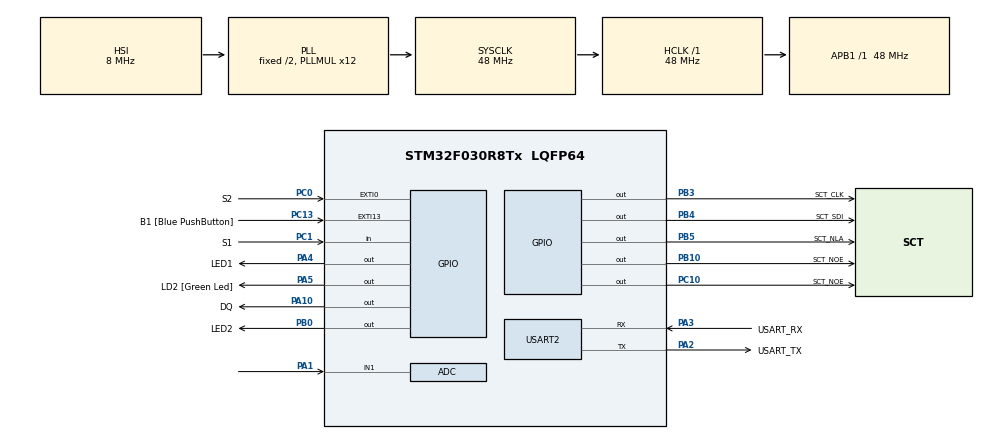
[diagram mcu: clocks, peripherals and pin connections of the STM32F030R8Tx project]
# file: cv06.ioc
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ADC.ContinuousConvMode=ENABLE
ADC.Resolution=ADC_RESOLUTION_10B
Mcu.Family=STM32F0
Mcu.Name=STM32F030R8Tx
Mcu.Package=LQFP64
PA1.Mode=IN1
PA1.Signal=ADC_IN1
PA10.GPIO_Label=DQ
PA10.GPIO_ModeDefaultOutputPP=GPIO_MODE_OUTPUT_OD
PA10.GPIO_PuPd=GPIO_NOPULL
PA10.PinState=GPIO_PIN_SET
PA10.Signal=GPIO_Output
PA13.GPIO_Label=TMS
PA13.Mode=Serial_Wire
PA13.Signal=SYS_SWDIO
PA14.GPIO_Label=TCK
PA14.Mode=Serial_Wire
PA14.Signal=SYS_SWCLK
PA2.GPIO_Label=USART_TX
PA2.GPIO_Mode=GPIO_MODE_AF_PP
PA2.GPIO_PuPd=GPIO_NOPULL
PA2.GPIO_Speed=GPIO_SPEED_FREQ_LOW
PA2.Mode=Asynchronous
PA2.Signal=USART2_TX
PA3.GPIO_Label=USART_RX
PA3.GPIO_Mode=GPIO_MODE_AF_PP
PA3.GPIO_PuPd=GPIO_NOPULL
PA3.GPIO_Speed=GPIO_SPEED_FREQ_LOW
PA3.Mode=Asynchronous
PA3.Signal=USART2_RX
PA4.GPIO_Label=LED1
PA4.Signal=GPIO_Output
PA5.GPIO_Label=LD2 [Green Led]
PA5.GPIO_Mode=GPIO_MODE_OUTPUT_PP
PA5.GPIO_PuPd=GPIO_NOPULL
PA5.GPIO_Speed=GPIO_SPEED_FREQ_LOW
PA5.Signal=GPIO_Output
PB0.GPIO_Label=LED2
PB0.Signal=GPIO_Output
PB10.GPIO_Label=SCT_NOE
PB10.Signal=GPIO_Output
PB3.GPIO_Label=SCT_CLK
PB3.Signal=GPIO_Output
PB4.GPIO_Label=SCT_SDI
PB4.Signal=GPIO_Output
PB5.GPIO_Label=SCT_NLA
PB5.Signal=GPIO_Output
PC0.GPIO_Label=S2
PC0.GPIO_PuPd=GPIO_PULLUP
PC0.Signal=GPXTI0
PC1.GPIO_Label=S1
PC1.GPIO_PuPd=GPIO_PULLUP
PC1.Signal=GPIO_Input
PC10.GPIO_Label=SCT_NOE
PC10.Signal=GPIO_Output
PC13.GPIO_Label=B1 [Blue PushButton]
PC13.GPIO_ModeDefaultEXTI=GPIO_MODE_IT_FALLING
PC13.Signal=GPXTI13
PC14-OSC32_IN.Mode=LSE-External-Oscillator
PC14-OSC32_IN.Signal=RCC_OSC32_IN
PC15-OSC32_OUT.Mode=LSE-External-Oscillator
PC15-OSC32_OUT.Signal=RCC_OSC32_OUT
PF0-OSC_IN.Mode=HSE-External-Clock-Source
PF0-OSC_IN.Signal=RCC_OSC_IN
PF1-OSC_OUT.Signal=RCC_OSC_OUT
ProjectManager.HeapSize=0x200
ProjectManager.StackSize=0x400
ProjectManager.TargetToolchain=STM32CubeIDE
RCC.AHBFreq_Value=48000000
RCC.APB1Freq_Value=48000000
RCC.APB1TimFreq_Value=48000000
RCC.HCLKFreq_Value=48000000
RCC.PLLMUL=RCC_PLL_MUL12
RCC.SYSCLKFreq_VALUE=48000000
RCC.SYSCLKSource=RCC_SYSCLKSOURCE_PLLCLK
USART2.VirtualMode-Asynchronous=VM_ASYNC
board=NUCLEO-F030R8

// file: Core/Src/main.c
/* USER CODE BEGIN Header */
/**
  ******************************************************************************
  * @file           : main.c
  * @brief          : Main program body
  ******************************************************************************
  * @attention
  *
  * Copyright (c) 2024 STMicroelectronics.
  * All rights reserved.
  *
  * This software is licensed under terms that can be found in the LICENSE file
  * in the root directory of this software component.
  * If no LICENSE file comes with this software, it is provided AS-IS.
  *
  ******************************************************************************
  */
/* USER CODE END Header */
#include "main.h"

/* USER CODE BEGIN Includes */
#include "sct.h"
#include "1wire.h"
static const int16_t ntc_lookup[]=
{
	#include "data.dlm"
};
/* USER CODE END Includes */

ADC_HandleTypeDef hadc;

UART_HandleTypeDef huart2;

void SystemClock_Config(void);
static void MX_GPIO_Init(void);
static void MX_USART2_UART_Init(void);
static void MX_ADC_Init(void);

int main(void)
{

  /* MCU Configuration--------------------------------------------------------*/

  /* Reset of all peripherals, Initializes the Flash interface and the Systick. */
  HAL_Init();

  /* Configure the system clock */
  SystemClock_Config();

  /* Initialize all configured peripherals */
  MX_GPIO_Init();
  MX_USART2_UART_Init();
  MX_ADC_Init();
  /* USER CODE BEGIN 2 */
  sct_init();
  OWInit();
  HAL_ADCEx_Calibration_Start(&hadc);
  HAL_ADC_Start(&hadc);
  static enum { NULA,NTC,DS18} state = NULA;
  static uint32_t button;
  static uint32_t tick;
  /* USER CODE END 2 */

  /* Infinite loop */
  /* USER CODE BEGIN WHILE */
  while (1)
  {
	  if (HAL_GetTick()>tick + 750)
	  {
		  OWConvertAll();
		  tick = HAL_GetTick();

	  }
	  if(HAL_GetTick()>button + 10)
	  {
		  if (!HAL_GPIO_ReadPin(GPIOC, S1_Pin))
		  {

			  state = DS18;
		  }
		  if (!HAL_GPIO_ReadPin(GPIOC, S2_Pin))
		  {
			  state = NTC;
		  }
		  button = HAL_GetTick();
	  }
	  switch (state)
	  {
	  	  case NULA:
	  	  {
	  		  HAL_GPIO_WritePin(LED1_GPIO_Port,LED1_Pin,GPIO_PIN_RESET);
	  		  HAL_GPIO_WritePin(LED1_GPIO_Port,LED2_Pin,GPIO_PIN_RESET);
	  		  sct_value(0,0);
	  	  }
	  	  break;
	  	  case NTC:
	  	  {
				HAL_GPIO_WritePin(LED1_GPIO_Port, LED1_Pin, GPIO_PIN_SET);
				HAL_GPIO_WritePin(LED2_GPIO_Port, LED2_Pin, GPIO_PIN_RESET);

				int16_t ad_data = ntc_lookup[HAL_ADC_GetValue(&hadc)];
				sct_value(ad_data,0);

		   }
	  	   break;
	  	  case DS18:
	  	  {

	    		HAL_GPIO_WritePin(LED1_GPIO_Port, LED1_Pin, GPIO_PIN_RESET);
	    		HAL_GPIO_WritePin(LED2_GPIO_Port, LED2_Pin, GPIO_PIN_SET);
	    		int16_t temp_18b20;
	    		OWReadTemperature(&temp_18b20);
	    		sct_value(temp_18b20/10,0);
	  	  }
	  }
	  HAL_Delay(50);
	  //OWConvertAll();
	  //HAL_Delay(750);
	  //int16_t temp_18b20;
	  //OWReadTemperature(&temp_18b20);
	  //sct_value(temp_18b20/10,0);
	  //sct_value(HAL_ADC_GetValue(&hadc),0);
    /* USER CODE END WHILE */

  }
}

void SystemClock_Config(void)
{
  RCC_OscInitTypeDef RCC_OscInitStruct = {0};
  RCC_ClkInitTypeDef RCC_ClkInitStruct = {0};

  /** Initializes the RCC Oscillators according to the specified parameters
  * in the RCC_OscInitTypeDef structure.
  */
  RCC_OscInitStruct.OscillatorType = RCC_OSCILLATORTYPE_HSI|RCC_OSCILLATORTYPE_HSI14;
  RCC_OscInitStruct.HSIState = RCC_HSI_ON;
  RCC_OscInitStruct.HSI14State = RCC_HSI14_ON;
  RCC_OscInitStruct.HSICalibrationValue = RCC_HSICALIBRATION_DEFAULT;
  RCC_OscInitStruct.HSI14CalibrationValue = 16;
  RCC_OscInitStruct.PLL.PLLState = RCC_PLL_ON;
  RCC_OscInitStruct.PLL.PLLSource = RCC_PLLSOURCE_HSI;
  RCC_OscInitStruct.PLL.PLLMUL = RCC_PLL_MUL12;
  RCC_OscInitStruct.PLL.PREDIV = RCC_PREDIV_DIV1;
  if (HAL_RCC_OscConfig(&RCC_OscInitStruct) != HAL_OK)
  {
    Error_Handler();
  }

  /** Initializes the CPU, AHB and APB buses clocks
  */
  RCC_ClkInitStruct.ClockType = RCC_CLOCKTYPE_HCLK|RCC_CLOCKTYPE_SYSCLK
                              |RCC_CLOCKTYPE_PCLK1;
  RCC_ClkInitStruct.SYSCLKSource = RCC_SYSCLKSOURCE_PLLCLK;
  RCC_ClkInitStruct.AHBCLKDivider = RCC_SYSCLK_DIV1;
  RCC_ClkInitStruct.APB1CLKDivider = RCC_HCLK_DIV1;

  if (HAL_RCC_ClockConfig(&RCC_ClkInitStruct, FLASH_LATENCY_1) != HAL_OK)
  {
    Error_Handler();
  }
}

static void MX_ADC_Init(void)
{

  ADC_ChannelConfTypeDef sConfig = {0};

  /** Configure the global features of the ADC (Clock, Resolution, Data Alignment and number of conversion)
  */
  hadc.Instance = ADC1;
  hadc.Init.ClockPrescaler = ADC_CLOCK_ASYNC_DIV1;
  hadc.Init.Resolution = ADC_RESOLUTION_10B;
  hadc.Init.DataAlign = ADC_DATAALIGN_RIGHT;
  hadc.Init.ScanConvMode = ADC_SCAN_DIRECTION_FORWARD;
  hadc.Init.EOCSelection = ADC_EOC_SINGLE_CONV;
  hadc.Init.LowPowerAutoWait = DISABLE;
  hadc.Init.LowPowerAutoPowerOff = DISABLE;
  hadc.Init.ContinuousConvMode = ENABLE;
  hadc.Init.DiscontinuousConvMode = DISABLE;
  hadc.Init.ExternalTrigConv = ADC_SOFTWARE_START;
  hadc.Init.ExternalTrigConvEdge = ADC_EXTERNALTRIGCONVEDGE_NONE;
  hadc.Init.DMAContinuousRequests = DISABLE;
  hadc.Init.Overrun = ADC_OVR_DATA_PRESERVED;
  if (HAL_ADC_Init(&hadc) != HAL_OK)
  {
    Error_Handler();
  }

  /** Configure for the selected ADC regular channel to be converted.
  */
  sConfig.Channel = ADC_CHANNEL_1;
  sConfig.Rank = ADC_RANK_CHANNEL_NUMBER;
  sConfig.SamplingTime = ADC_SAMPLETIME_1CYCLE_5;
  if (HAL_ADC_ConfigChannel(&hadc, &sConfig) != HAL_OK)
  {
    Error_Handler();
  }

}

static void MX_USART2_UART_Init(void)
{

  huart2.Instance = USART2;
  huart2.Init.BaudRate = 38400;
  huart2.Init.WordLength = UART_WORDLENGTH_8B;
  huart2.Init.StopBits = UART_STOPBITS_1;
  huart2.Init.Parity = UART_PARITY_NONE;
  huart2.Init.Mode = UART_MODE_TX_RX;
  huart2.Init.HwFlowCtl = UART_HWCONTROL_NONE;
  huart2.Init.OverSampling = UART_OVERSAMPLING_16;
  huart2.Init.OneBitSampling = UART_ONE_BIT_SAMPLE_DISABLE;
  huart2.AdvancedInit.AdvFeatureInit = UART_ADVFEATURE_NO_INIT;
  if (HAL_UART_Init(&huart2) != HAL_OK)
  {
    Error_Handler();
  }

}

static void MX_GPIO_Init(void)
{
  GPIO_InitTypeDef GPIO_InitStruct = {0};

  /* GPIO Ports Clock Enable */
  __HAL_RCC_GPIOC_CLK_ENABLE();
  __HAL_RCC_GPIOF_CLK_ENABLE();
  __HAL_RCC_GPIOA_CLK_ENABLE();
  __HAL_RCC_GPIOB_CLK_ENABLE();

  /*Configure GPIO pin Output Level */
  HAL_GPIO_WritePin(GPIOA, LED1_Pin|LD2_Pin, GPIO_PIN_RESET);

  /*Configure GPIO pin Output Level */
  HAL_GPIO_WritePin(GPIOB, LED2_Pin|SCT_NOE_Pin|SCT_CLK_Pin|SCT_SDI_Pin
                          |SCT_NLA_Pin, GPIO_PIN_RESET);

  /*Configure GPIO pin Output Level */
  HAL_GPIO_WritePin(DQ_GPIO_Port, DQ_Pin, GPIO_PIN_SET);

  /*Configure GPIO pin Output Level */
  HAL_GPIO_WritePin(SCT_NOEC10_GPIO_Port, SCT_NOEC10_Pin, GPIO_PIN_RESET);

  /*Configure GPIO pin : B1_Pin */
  GPIO_InitStruct.Pin = B1_Pin;
  GPIO_InitStruct.Mode = GPIO_MODE_IT_FALLING;
  GPIO_InitStruct.Pull = GPIO_NOPULL;
  HAL_GPIO_Init(B1_GPIO_Port, &GPIO_InitStruct);

  /*Configure GPIO pin : S2_Pin */
  GPIO_InitStruct.Pin = S2_Pin;
  GPIO_InitStruct.Mode = GPIO_MODE_IT_RISING;
  GPIO_InitStruct.Pull = GPIO_PULLUP;
  HAL_GPIO_Init(S2_GPIO_Port, &GPIO_InitStruct);

  /*Configure GPIO pin : S1_Pin */
  GPIO_InitStruct.Pin = S1_Pin;
  GPIO_InitStruct.Mode = GPIO_MODE_INPUT;
  GPIO_InitStruct.Pull = GPIO_PULLUP;
  HAL_GPIO_Init(S1_GPIO_Port, &GPIO_InitStruct);

  /*Configure GPIO pins : LED1_Pin LD2_Pin */
  GPIO_InitStruct.Pin = LED1_Pin|LD2_Pin;
  GPIO_InitStruct.Mode = GPIO_MODE_OUTPUT_PP;
  GPIO_InitStruct.Pull = GPIO_NOPULL;
  GPIO_InitStruct.Speed = GPIO_SPEED_FREQ_LOW;
  HAL_GPIO_Init(GPIOA, &GPIO_InitStruct);

  /*Configure GPIO pins : LED2_Pin SCT_NOE_Pin SCT_CLK_Pin SCT_SDI_Pin
                           SCT_NLA_Pin */
  GPIO_InitStruct.Pin = LED2_Pin|SCT_NOE_Pin|SCT_CLK_Pin|SCT_SDI_Pin
                          |SCT_NLA_Pin;
  GPIO_InitStruct.Mode = GPIO_MODE_OUTPUT_PP;
  GPIO_InitStruct.Pull = GPIO_NOPULL;
  GPIO_InitStruct.Speed = GPIO_SPEED_FREQ_LOW;
  HAL_GPIO_Init(GPIOB, &GPIO_InitStruct);

  /*Configure GPIO pin : DQ_Pin */
  GPIO_InitStruct.Pin = DQ_Pin;
  GPIO_InitStruct.Mode = GPIO_MODE_OUTPUT_OD;
  GPIO_InitStruct.Pull = GPIO_NOPULL;
  GPIO_InitStruct.Speed = GPIO_SPEED_FREQ_LOW;
  HAL_GPIO_Init(DQ_GPIO_Port, &GPIO_InitStruct);

  /*Configure GPIO pin : SCT_NOEC10_Pin */
  GPIO_InitStruct.Pin = SCT_NOEC10_Pin;
  GPIO_InitStruct.Mode = GPIO_MODE_OUTPUT_PP;
  GPIO_InitStruct.Pull = GPIO_NOPULL;
  GPIO_InitStruct.Speed = GPIO_SPEED_FREQ_LOW;
  HAL_GPIO_Init(SCT_NOEC10_GPIO_Port, &GPIO_InitStruct);

}

void Error_Handler(void)
{
  __disable_irq();
  while (1)
  {
  }
}
